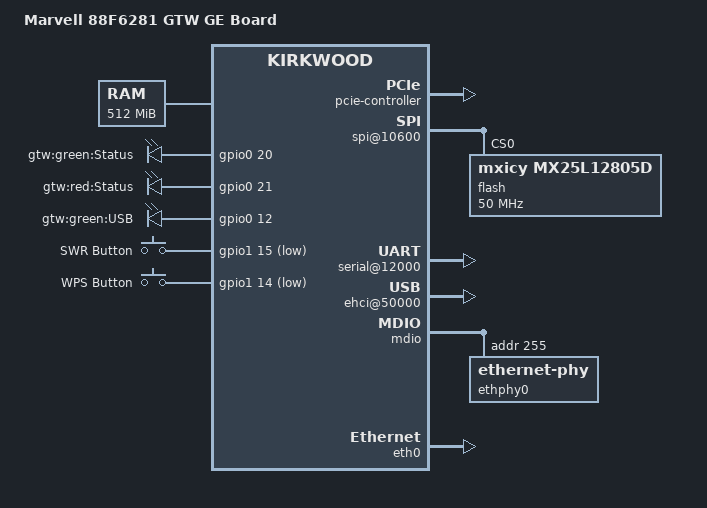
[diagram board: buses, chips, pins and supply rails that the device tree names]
/*
 * Marvell 88F6281 GTW GE Board
 *
 * Lennert Buytenhek <buytenh@marvell.com>
 * Thomas Petazzoni <thomas.petazzoni@free-electrons.com>
 *
 * This file is licensed under the terms of the GNU General Public
 * License version 2.  This program is licensed "as is" without any
 * warranty of any kind, whether express or implied.
 *
 * This file contains the definitions that are common between the 6281
 * and 6282 variants of the Marvell Kirkwood Development Board.
 */

/dts-v1/;

#include "kirkwood.dtsi"
#include "kirkwood-6281.dtsi"

/ {
	model = "Marvell 88F6281 GTW GE Board";
	compatible = "marvell,mv88f6281gtw-ge", "marvell,kirkwood-88f6281", "marvell,kirkwood";

	memory {
		device_type = "memory";
		reg = <0x00000000 0x20000000>; /* 512 MB */
	};

	chosen {
		bootargs = "console=ttyS0,115200n8 earlyprintk";
	};

	mbus {
		pcie-controller {
			status = "okay";

			pcie@1,0 {
				status = "okay";
			};
		};
        };

	ocp@f1000000 {
		pinctrl@10000 {
			pmx_usb_led: pmx-usb-led {
				marvell,pins = "mpp12";
				marvell,function = "gpo";
			};

			pmx_leds: pmx-leds {
				marvell,pins = "mpp20", "mpp21";
				marvell,function = "gpio";
			};

			pmx_keys: pmx-keys {
				marvell,pins = "mpp46", "mpp47";
				marvell,function = "gpio";
			};
		};

		spi@10600 {
			pinctrl-0 = <&pmx_spi>;
			pinctrl-names = "default";
			status = "okay";

			flash@0 {
				#address-cells = <1>;
				#size-cells = <1>;
				compatible = "mxicy,mx25l12805d";
				reg = <0>;
				spi-max-frequency = <50000000>;
				mode = <0>;
			};
		};

		serial@12000 {
			pinctrl-0 = <&pmx_uart0>;
			pinctrl-names = "default";
			clock-frequency = <200000000>;
			status = "ok";
		};

		ehci@50000 {
			status = "okay";
		};
	};

	gpio-leds {
		compatible = "gpio-leds";
		pinctrl-0 = <&pmx_leds &pmx_usb_led>;
		pinctrl-names = "default";

		green-status {
			label = "gtw:green:Status";
			gpios = <&gpio0 20 GPIO_ACTIVE_HIGH>;
		};

		red-status {
			label = "gtw:red:Status";
			gpios = <&gpio0 21 GPIO_ACTIVE_HIGH>;
		};

		green-usb {
			label = "gtw:green:USB";
			gpios = <&gpio0 12 GPIO_ACTIVE_HIGH>;
		};
	};

	gpio_keys {
		compatible = "gpio-keys";
		#address-cells = <1>;
		#size-cells = <0>;
		pinctrl-0 = <&pmx_keys>;
		pinctrl-names = "default";

		button@1 {
			label = "SWR Button";
			linux,code = <KEY_RESTART>;
			gpios = <&gpio1 15 GPIO_ACTIVE_LOW>;
		};
		button@2 {
			label = "WPS Button";
			linux,code = <KEY_WPS_BUTTON>;
			gpios = <&gpio1 14 GPIO_ACTIVE_LOW>;
		};
	};

	dsa@0 {
		compatible = "marvell,dsa";
		#address-cells = <2>;
		#size-cells = <0>;

		dsa,ethernet = <&eth0>;
		dsa,mii-bus = <&ethphy0>;

		switch@0 {
			#address-cells = <1>;
			#size-cells = <0>;
			reg = <0 0>;	/* MDIO address 0, switch 0 in tree */

			port@0 {
				reg = <0>;
				label = "lan1";
			};

			port@1 {
				reg = <1>;
				label = "lan2";
			};

			port@2 {
				reg = <2>;
				label = "lan3";
			};

			port@3 {
				reg = <3>;
				label = "lan4";
			};

			port@4 {
				reg = <4>;
				label = "wan";
			};

			port@5 {
				reg = <5>;
				label = "cpu";
			};
		};
	};
};

&mdio {
	status = "okay";

	ethphy0: ethernet-phy@ff {
		reg = <0xff>; 	/* No phy attached */
		speed = <1000>;
		duplex = <1>;
	};
};

&eth0 {
	status = "okay";
	ethernet0-port@0 {
		phy-handle = <&ethphy0>;
	};
};
